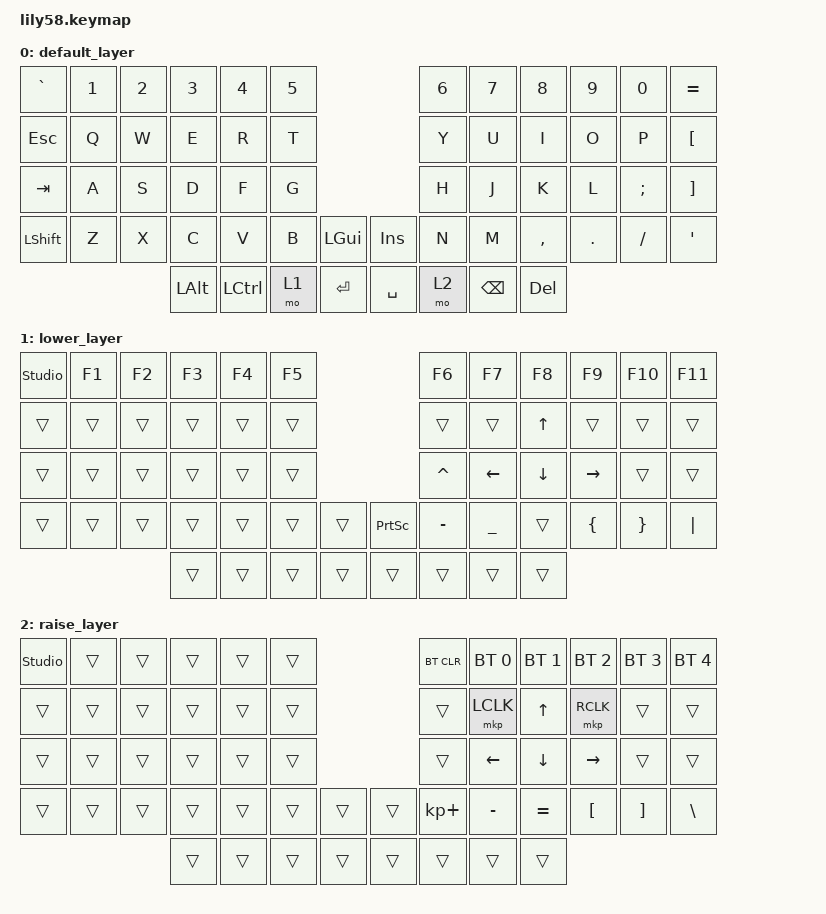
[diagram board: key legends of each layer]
/*
 * Copyright (c) 2020 The ZMK Contributors
 *
 * SPDX-License-Identifier: MIT
 */

#include <behaviors.dtsi>
#include <dt-bindings/zmk/bt.h>
#include <dt-bindings/zmk/keys.h>
#include <dt-bindings/zmk/pointing.h>

/ {
    keymap {
        compatible = "zmk,keymap";

        default_layer {
            // ------------------------------------------------------------------------------------------------------------
            // |  ESC  |  1  |  2  |  3   |  4   |  5   |                   |  6   |  7    |  8    |  9   |   0   |   `   |
            // |  TAB  |  Q  |  W  |  E   |  R   |  T   |                   |  Y   |  U    |  I    |  O   |   P   |   -   |
            // |  CTRL |  A  |  S  |  D   |  F   |  G   |                   |  H   |  J    |  K    |  L   |   ;   |   '   |
            // | SHIFT |  Z  |  X  |  C   |  V   |  B   |   "["  |  |  "]"  |  N   |  M    |  ,    |  .   |   /   | SHIFT |
            //                     | ALT  | GUI  | LOWER|  SPACE |  | ENTER | RAISE| BSPC  | GUI   |

            bindings = <
&kp GRAVE  &kp N1  &kp N2  &kp N3    &kp N4     &kp N5                             &kp N6  &kp N7    &kp N8      &kp N9   &kp N0    &kp EQUAL
&kp ESC    &kp Q   &kp W   &kp E     &kp R      &kp T                              &kp Y   &kp U     &kp I       &kp O    &kp P     &kp LBKT
&kp TAB    &kp A   &kp S   &kp D     &kp F      &kp G                              &kp H   &kp J     &kp K       &kp L    &kp SEMI  &kp RBKT
&kp LSHFT  &kp Z   &kp X   &kp C     &kp V      &kp B   &kp LEFT_GUI    &kp INS    &kp N   &kp M     &kp COMMA   &kp DOT  &kp FSLH  &kp APOS
                           &kp LALT  &kp LCTRL  &mo 1   &kp ENTER       &kp SPACE  &mo 2   &kp BSPC  &kp DELETE
            >;
        };

        lower_layer {
            // --------------------------------------------------------------------------------------------------------------
            // | LPAD  | BRDn | BRUp |  MUT |  Vo- |  Vo+ |                   |      |       |       |      |       |       |
            // |  F1   |  F2  |  F3  |  F4  |  F5  |  F6  |                   |  F7  |  F8   |  F9   |  F10 |  F11  |  F12  |
            // |   `   |  !   |  @   |  #   |  $   |  %   |                   |  ^   |  &    |  *    |  (   |   )   |   ~   |
            // |       |      |      |      |      |      |        |  |       |      |  _    |  +    |  {   |   }   |  "|"  |
            //                       |      |      |      |        |  |       |      |       |       |

            bindings = <
&studio_unlock  &kp F1  &kp F2  &kp F3  &kp F4  &kp F5                             &kp F6     &kp F7          &kp F8          &kp F9           &kp F10   &kp F11
&trans          &trans  &trans  &trans  &trans  &trans                             &trans     &trans          &kp UP_ARROW    &trans           &trans    &trans
&trans          &trans  &trans  &trans  &trans  &trans                             &kp CARET  &kp LEFT_ARROW  &kp DOWN_ARROW  &kp RIGHT_ARROW  &trans    &trans
&trans          &trans  &trans  &trans  &trans  &trans  &trans    &kp PRINTSCREEN  &kp MINUS  &kp UNDERSCORE  &trans          &kp LBRC         &kp RBRC  &kp PIPE
                                &trans  &trans  &trans  &trans    &trans           &trans     &trans          &trans
            >;
        };

        raise_layer {
            // ------------------------------------------------------------------------------------------------------------
            // |       |     |     |      |      |      |                   |      |       |       |      |       |       |
            // |   `   |  1  |  2  |  3   |  4   |  5   |                   |  6   |   7   |   8   |  9   |   0   |       |
            // |   F1  |  F2 |  F3 |  F4  |  F5  |  F6  |                   |      |   <-  |   v   |  ^   |  ->   |       |
            // |   F7  |  F8 |  F9 |  F10 |  F11 |  F12 |        |  |       |  +   |   -   |   =   |  [   |   ]   |   \   |
            //                     |      |      |      |        |  |       |      |       |       |

            bindings = <
&studio_unlock  &trans  &trans  &trans  &trans  &trans                    &bt BT_CLR   &bt BT_SEL 0  &bt BT_SEL 1    &bt BT_SEL 2  &bt BT_SEL 3  &bt BT_SEL 4
&trans          &trans  &trans  &trans  &trans  &trans                    &trans       &mkp LCLK     &kp UP_ARROW    &mkp RCLK     &trans        &trans
&trans          &trans  &trans  &trans  &trans  &trans                    &trans       &kp LEFT      &kp DOWN_ARROW  &kp RIGHT     &trans        &trans
&trans          &trans  &trans  &trans  &trans  &trans  &trans    &trans  &kp KP_PLUS  &kp MINUS     &kp EQUAL       &kp LBKT      &kp RBKT      &kp BSLH
                                &trans  &trans  &trans  &trans    &trans  &trans       &trans        &trans
            >;
        };
    };
};
